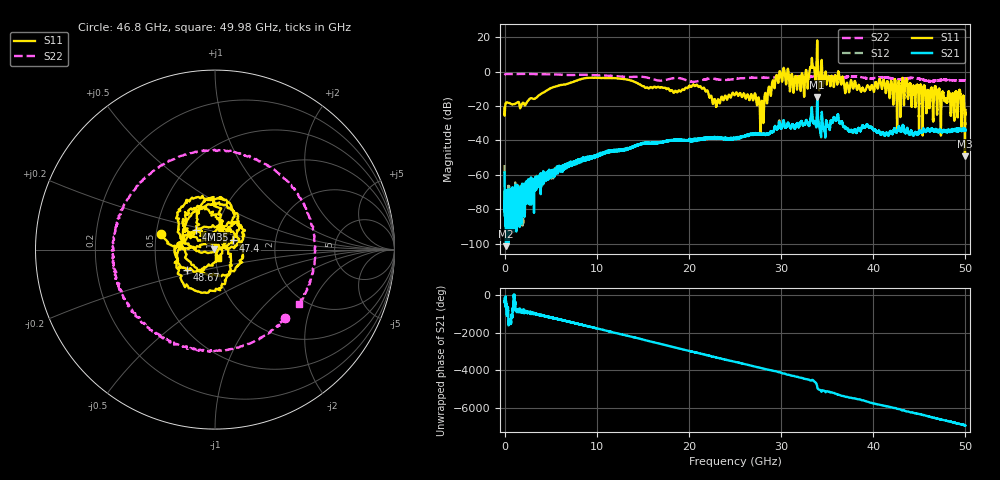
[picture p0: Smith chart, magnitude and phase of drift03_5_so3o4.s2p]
!Created with skrf (http://scikit-rf.org).
# Hz S RI R 50.0
!freq ReS11 ImS11 ReS21 ImS21 ReS12 ImS12 ReS22 ImS22
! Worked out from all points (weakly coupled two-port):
!   10001 points, 300 kHz to 50 GHz, reference 50 ohm
!   highest |S21| = -14.72 dB at 33.92 GHz (marker M1); lowest = -101.4 dB at 150.3 MHz (marker M2)
!   lowest |S11| = -49.3 dB at 49.95 GHz (marker M3), VSWR 1.01, Z = 49.7 + j0.197 ohm
!   |S11| at or under -10 dB: start of sweep to 4.85 GHz; 21.69 GHz to 28.62 GHz (6.932 GHz wide, 27.6 % of centre); 47.15 GHz to end of sweep (the widest 3 of 39)
!   |S22| runs from -5.9 to -1.3 dB; largest |S21 - S12| = 0.018
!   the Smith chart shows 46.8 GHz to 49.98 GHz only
!   S11 on the Smith chart (normalised r, x): 46.8 GHz: 0.53, +0.10; 47.4 GHz: 1.22, +0.13; 48.05 GHz: 0.79, +0.18; 48.67 GHz: 0.71, -0.17; 49.98 GHz: 1.03, -0.09
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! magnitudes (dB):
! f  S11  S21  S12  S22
! 300 kHz  -21.4  -58.7  -54.2  -2.1
! 150.3 MHz  -18.1  -101.4  -82.4  -1.5
! 8.335 GHz  -4.3  -51.6  -51.9  -1.9
! 16.67 GHz  -8.8  -41.4  -41.2  -5.2
! 21.02 GHz  -8.8  -38.9  -39.6  -5.5
! 22.81 GHz  -16.2  -38.8  -38.5  -4.2
! 25 GHz  -13.4  -38.3  -38.6  -4.3
! 27.02 GHz  -15.9  -36.4  -36.2  -3.5
! 27.91 GHz  -17.1  -36.6  -36.6  -3.5
! 29.69 GHz  -6.6  -31.9  -31.7  -3.1
! 32.32 GHz  -1.5  -30.5  -30.6  -3.3
! 33.34 GHz  7.7  -20.7  -20.8  -2.9
! 33.92 GHz  18.1  -14.7  -15.0  -2.5
! 37.17 GHz  -6.6  -33.3  -33.4  -2.9
! 41.67 GHz  -9.0  -36.6  -36.5  -3.7
! 46.8 GHz  -10.1  -34.0  -33.8  -5.2
! 47.4 GHz  -18.8  -34.9  -34.8  -4.8
! 48.05 GHz  -16.2  -34.9  -34.7  -4.9
! 48.67 GHz  -14.2  -34.3  -33.8  -5.1
! 49.95 GHz  -49.3  -34.5  -33.9  -5.1
! 49.98 GHz  -26.2  -34.3  -33.9  -5.1
! 50 GHz  -22.4  -34.3  -33.9  -5.0
